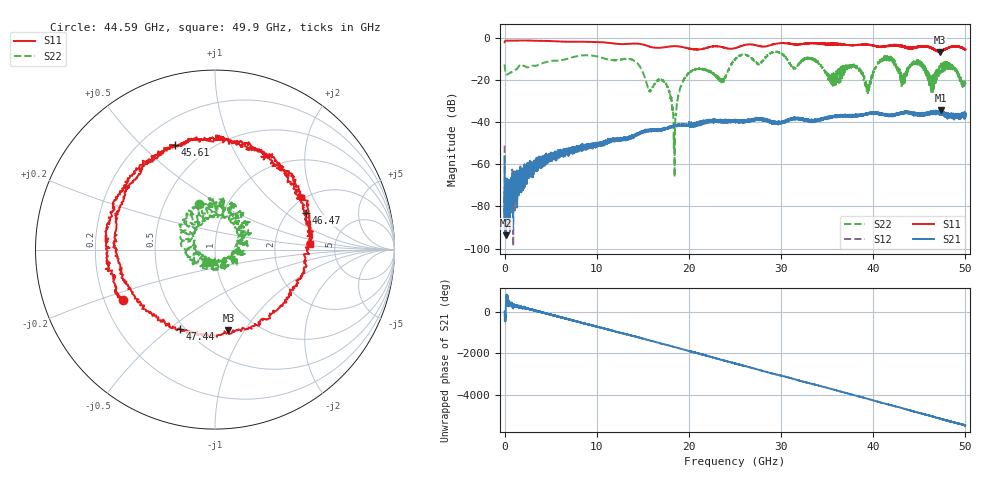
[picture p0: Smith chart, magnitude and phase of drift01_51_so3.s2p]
!Created with skrf (http://scikit-rf.org).
# Hz S RI R 50.0
!freq ReS11 ImS11 ReS21 ImS21 ReS12 ImS12 ReS22 ImS22
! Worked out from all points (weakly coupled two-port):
!   10001 points, 300 kHz to 50 GHz, reference 50 ohm
!   highest |S21| = -34.55 dB at 47.31 GHz (marker M1); lowest = -93.6 dB at 115.3 MHz (marker M2)
!   lowest |S11| = -6.8 dB at 47.21 GHz (marker M3), VSWR 2.67, Z = 37.5 - j42.5 ohm
!   |S11| at or under -10 dB: nowhere
!   |S22| runs from -66.1 to -6.6 dB; largest |S21 - S12| = 0.0044
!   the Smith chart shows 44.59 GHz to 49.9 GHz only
!   S11 on the Smith chart (normalised r, x): 44.59 GHz: 0.28, -0.24; 45.61 GHz: 0.33, +0.63; 46.47 GHz: 2.46, +1.44; 47.44 GHz: 0.47, -0.54; 49.9 GHz: 3.21, +0.29
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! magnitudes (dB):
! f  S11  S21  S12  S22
! 300 kHz  -2.2  -56.2  -51.2  -12.7
! 115.3 MHz  -1.5  -93.6  -78.3  -17.0
! 255.3 MHz  -1.4  -68.4  -76.6  -17.5
! 8.335 GHz  -2.0  -53.2  -52.7  -8.5
! 16.67 GHz  -4.9  -43.7  -43.7  -20.0
! 17.73 GHz  -4.4  -42.8  -42.8  -23.4
! 18.42 GHz  -4.1  -41.9  -42.0  -47.1
! 19.91 GHz  -5.1  -41.3  -41.6  -17.2
! 23.59 GHz  -4.5  -39.8  -39.7  -19.7
! 25 GHz  -5.0  -39.6  -39.6  -10.5
! 33.34 GHz  -2.6  -39.7  -39.0  -9.9
! 39.36 GHz  -3.3  -36.5  -36.3  -22.3
! 41.67 GHz  -3.9  -37.1  -36.8  -9.7
! 43.18 GHz  -4.3  -36.1  -35.6  -17.9
! 44.59 GHz  -4.7  -36.5  -36.3  -11.4
! 45.61 GHz  -4.1  -35.8  -35.9  -15.3
! 46.47 GHz  -5.2  -35.7  -35.8  -20.5
! 47.21 GHz  -6.8  -35.5  -35.5  -14.0
! 47.31 GHz  -6.5  -34.6  -36.1  -14.4
! 47.44 GHz  -6.4  -36.4  -36.2  -16.4
! 49.9 GHz  -5.5  -35.2  -36.8  -21.2
! 50 GHz  -5.7  -35.9  -36.2  -21.6
